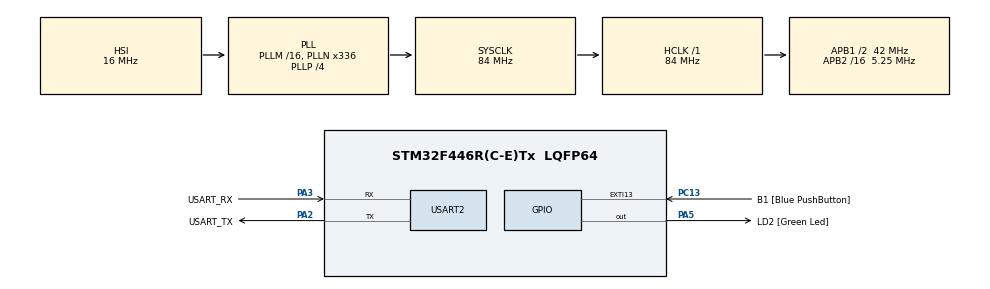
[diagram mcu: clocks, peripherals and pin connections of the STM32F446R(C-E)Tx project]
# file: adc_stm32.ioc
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Mcu.Family=STM32F4
Mcu.Name=STM32F446R(C-E)Tx
Mcu.Package=LQFP64
NVIC.PriorityGroup=NVIC_PRIORITYGROUP_0
PA13.GPIO_Label=TMS
PA13.Mode=Serial_Wire
PA13.Signal=SYS_JTMS-SWDIO
PA14.GPIO_Label=TCK
PA14.Mode=Serial_Wire
PA14.Signal=SYS_JTCK-SWCLK
PA2.GPIO_Label=USART_TX
PA2.Mode=Asynchronous
PA2.Signal=USART2_TX
PA3.GPIO_Label=USART_RX
PA3.Mode=Asynchronous
PA3.Signal=USART2_RX
PA5.GPIO_Label=LD2 [Green Led]
PA5.Signal=GPIO_Output
PB3.GPIO_Label=SWO
PB3.Signal=SYS_JTDO-SWO
PC13.GPIO_Label=B1 [Blue PushButton]
PC13.GPIO_ModeDefaultEXTI=GPIO_MODE_IT_FALLING
PC13.Signal=GPXTI13
PC14-OSC32_IN.Mode=LSE-External-Oscillator
PC14-OSC32_IN.Signal=RCC_OSC32_IN
PC15-OSC32_OUT.Mode=LSE-External-Oscillator
PC15-OSC32_OUT.Signal=RCC_OSC32_OUT
PH0-OSC_IN.Mode=HSE-External-Oscillator
PH0-OSC_IN.Signal=RCC_OSC_IN
PH1-OSC_OUT.Mode=HSE-External-Oscillator
PH1-OSC_OUT.Signal=RCC_OSC_OUT
ProjectManager.HeapSize=0x200
ProjectManager.StackSize=0x400
ProjectManager.TargetToolchain=STM32CubeIDE
RCC.48MHZClocksFreq_Value=84000000
RCC.AHBFreq_Value=84000000
RCC.APB1CLKDivider=RCC_HCLK_DIV2
RCC.APB1Freq_Value=42000000
RCC.APB1TimFreq_Value=84000000
RCC.APB2CLKDivider=RCC_HCLK_DIV16
RCC.APB2Freq_Value=5250000
RCC.APB2TimFreq_Value=10500000
RCC.CortexFreq_Value=84000000
RCC.FLatency-AdvancedSettings=FLASH_LATENCY_2
RCC.HCLKFreq_Value=84000000
RCC.HSE_VALUE=8000000
RCC.HSI_VALUE=16000000
RCC.PLLN=336
RCC.PLLP=RCC_PLLP_DIV4
RCC.SYSCLKFreq_VALUE=84000000
RCC.SYSCLKSource=RCC_SYSCLKSOURCE_PLLCLK
RCC.USBFreq_Value=168000000
RCC.VCOOutputFreq_Value=336000000
USART2.VirtualMode=VM_ASYNC
board=NUCLEO-F446RE

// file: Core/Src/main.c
/* USER CODE BEGIN Header */
/**
  ******************************************************************************
  * @file           : main.c
  * @brief          : Main program body
  ******************************************************************************
  * @attention
  *
  * Copyright (c) 2024 STMicroelectronics.
  * All rights reserved.
  *
  * This software is licensed under terms that can be found in the LICENSE file
  * in the root directory of this software component.
  * If no LICENSE file comes with this software, it is provided AS-IS.
  *
  ******************************************************************************
  */
/* USER CODE END Header */
#include "main.h"

/* USER CODE BEGIN Includes */
#include <math.h>
/* USER CODE END Includes */

UART_HandleTypeDef huart2;

void SystemClock_Config(void);
static void MX_GPIO_Init(void);
static void MX_USART2_UART_Init(void);

/* USER CODE BEGIN 0 */
#define ADC_FS 3.3f

void interpret_adc_value();

volatile uint16_t voltage_p, voltage_r = 0;
float voltage_fp, voltage_fr = 0.0;
uint8_t channel = 0;

void ADC_IRQHandler() {
	if(((ADC1->SR >> ADC_SR_EOC_Pos) & 0x01)) {
		switch (channel) { 								// Select channel
		case 0:
			voltage_p = (uint16_t)ADC1->DR;				// Potenziometer
			break;
		case 1:
			voltage_r = (uint16_t)ADC1->DR;				// Photoresistor
			ADC1->CR2 |= (0x1 << ADC_CR2_SWSTART_Pos); 	// Single conversion, restart at the end of group
			break;
		}
		channel = (channel + 1) % 2; 					// Swap between channels
	}
}

/* USER CODE END 0 */

int main(void)
{

  /* MCU Configuration--------------------------------------------------------*/

  /* Reset of all peripherals, Initializes the Flash interface and the Systick. */
  HAL_Init();

  /* Configure the system clock */
  SystemClock_Config();

  /* Initialize all configured peripherals */
  MX_GPIO_Init();
  MX_USART2_UART_Init();
  /* USER CODE BEGIN 2 */

  /* GPIO Configuration */
  // Provide clock to PORTA (PA_0 and PA_1 are associated to CH0 and CH1)
  RCC->AHB1ENR |= (1 << RCC_AHB1ENR_GPIOAEN_Pos); 	// Clock to GPIOA

  // Set both GPIOs in Analog mode
  GPIOA->MODER |= (3 << GPIO_MODER_MODE0_Pos);		// Set PA0 in Analog mode
  GPIOA->MODER |= (3 << GPIO_MODER_MODE1_Pos);		// Set PA1 in Analog mode

  /* ADC Configuration */
  // Provide clock to ADC1
  RCC->APB2ENR |= (1 << RCC_APB2ENR_ADC1EN_Pos); 	// Clock to ADC1

  ADC->CCR      |= (0x03 << ADC_CCR_ADCPRE_Pos);		// (ADCPRE) Divide clock by 8
  ADC1->CR2 	|= (0x01 << ADC_CR2_ADON_Pos);			// (ADON) Power On ADC1
  ADC1->CR2 	&= ~(0x01 << ADC_CR2_CONT_Pos);			// (CONT) Single Conversion Mode
  ADC1->SQR3 	&= ~(0x1F << 0);						// Clear before Selection of Channel 0
  ADC1->SQR3 	|= (0x00 << 0);							// Selection of Channel 0
  ADC1->SQR3 	&= ~(0x1F << 5);						// Clear before Selection of Channel 1
  ADC1->SQR3 	|= (0x01 << 5);							// Selection of Channel 1
  ADC1->SQR1    |= (0x01 << ADC_SQR1_L_Pos);  			// Specify the number of channels to sample
  ADC1->CR1 	|= (0x1 << ADC_CR1_SCAN_Pos); 			// (SCAN) Enable Scan Mode
  ADC1->CR1 	&= ~(0x1 << ADC_CR1_DISCEN_Pos); 		// (DISCEN) Disable Discontinuous Mode
  ADC1->CR1 	&= ~(0x07 << ADC_CR1_DISCNUM_Pos);		// (DISCNUM) Clear Number of Discontinuous Channels
  ADC1->CR2 	&= ~(0x1 << ADC_CR2_ALIGN_Pos); 		// (ALIGN) Align right
  ADC1->SMPR2 	&= ~(0x0F << ADC_SMPR2_SMP0_Pos);		// Clear cycles for Channel0
  ADC1->SMPR2 	|= (0x07 << ADC_SMPR2_SMP0_Pos);		// Set 480 Cycles per Samples
  ADC1->SMPR2 	&= ~(0x0F << ADC_SMPR2_SMP1_Pos);		// Clear cycles for Channel0
  ADC1->SMPR2 	|= (0x07 << ADC_SMPR2_SMP1_Pos);		// Set 480 Cycles per Samples
  ADC1->CR1 	&= ~(0x03 << ADC_CR1_RES_Pos);			// 12 Bit resolution
  ADC1->CR2 	|= (0x01 << ADC_CR2_EOCS_Pos); 			// (EOCS) Notify when each conversion of a sequence is complete
  ADC1 ->CR1 	|= (0x01 << ADC_CR1_EOCIE_Pos); 		// (EOCIE) Generate an interrupt every time EOC is set

  NVIC_EnableIRQ(ADC_IRQn); 							// Check file stm32f446xx.h for the name definition
  NVIC_SetPriority(ADC_IRQn, 0); 						// Priority
  ADC1->CR2 |= (0x1 << ADC_CR2_SWSTART_Pos);			// Start conversion

  /* USER CODE END 2 */

  /* Infinite loop */
  while (1)
  {

    /* USER CODE BEGIN 3 */
	  interpret_adc_value();							// Convert data every 400 ms
	  HAL_Delay(400);
  }
  /* USER CODE END 3 */
}

void SystemClock_Config(void)
{
  RCC_OscInitTypeDef RCC_OscInitStruct = {0};
  RCC_ClkInitTypeDef RCC_ClkInitStruct = {0};

  /** Configure the main internal regulator output voltage
  */
  __HAL_RCC_PWR_CLK_ENABLE();
  __HAL_PWR_VOLTAGESCALING_CONFIG(PWR_REGULATOR_VOLTAGE_SCALE3);

  /** Initializes the RCC Oscillators according to the specified parameters
  * in the RCC_OscInitTypeDef structure.
  */
  RCC_OscInitStruct.OscillatorType = RCC_OSCILLATORTYPE_HSI;
  RCC_OscInitStruct.HSIState = RCC_HSI_ON;
  RCC_OscInitStruct.HSICalibrationValue = RCC_HSICALIBRATION_DEFAULT;
  RCC_OscInitStruct.PLL.PLLState = RCC_PLL_ON;
  RCC_OscInitStruct.PLL.PLLSource = RCC_PLLSOURCE_HSI;
  RCC_OscInitStruct.PLL.PLLM = 16;
  RCC_OscInitStruct.PLL.PLLN = 336;
  RCC_OscInitStruct.PLL.PLLP = RCC_PLLP_DIV4;
  RCC_OscInitStruct.PLL.PLLQ = 2;
  RCC_OscInitStruct.PLL.PLLR = 2;
  if (HAL_RCC_OscConfig(&RCC_OscInitStruct) != HAL_OK)
  {
    Error_Handler();
  }

  /** Initializes the CPU, AHB and APB buses clocks
  */
  RCC_ClkInitStruct.ClockType = RCC_CLOCKTYPE_HCLK|RCC_CLOCKTYPE_SYSCLK
                              |RCC_CLOCKTYPE_PCLK1|RCC_CLOCKTYPE_PCLK2;
  RCC_ClkInitStruct.SYSCLKSource = RCC_SYSCLKSOURCE_PLLCLK;
  RCC_ClkInitStruct.AHBCLKDivider = RCC_SYSCLK_DIV1;
  RCC_ClkInitStruct.APB1CLKDivider = RCC_HCLK_DIV2;
  RCC_ClkInitStruct.APB2CLKDivider = RCC_HCLK_DIV16;

  if (HAL_RCC_ClockConfig(&RCC_ClkInitStruct, FLASH_LATENCY_2) != HAL_OK)
  {
    Error_Handler();
  }
}

static void MX_USART2_UART_Init(void)
{

  huart2.Instance = USART2;
  huart2.Init.BaudRate = 115200;
  huart2.Init.WordLength = UART_WORDLENGTH_8B;
  huart2.Init.StopBits = UART_STOPBITS_1;
  huart2.Init.Parity = UART_PARITY_NONE;
  huart2.Init.Mode = UART_MODE_TX_RX;
  huart2.Init.HwFlowCtl = UART_HWCONTROL_NONE;
  huart2.Init.OverSampling = UART_OVERSAMPLING_16;
  if (HAL_UART_Init(&huart2) != HAL_OK)
  {
    Error_Handler();
  }

}

static void MX_GPIO_Init(void)
{
  GPIO_InitTypeDef GPIO_InitStruct = {0};

  /* GPIO Ports Clock Enable */
  __HAL_RCC_GPIOC_CLK_ENABLE();
  __HAL_RCC_GPIOH_CLK_ENABLE();
  __HAL_RCC_GPIOA_CLK_ENABLE();
  __HAL_RCC_GPIOB_CLK_ENABLE();

  /*Configure GPIO pin Output Level */
  HAL_GPIO_WritePin(LD2_GPIO_Port, LD2_Pin, GPIO_PIN_RESET);

  /*Configure GPIO pin : B1_Pin */
  GPIO_InitStruct.Pin = B1_Pin;
  GPIO_InitStruct.Mode = GPIO_MODE_IT_FALLING;
  GPIO_InitStruct.Pull = GPIO_NOPULL;
  HAL_GPIO_Init(B1_GPIO_Port, &GPIO_InitStruct);

  /*Configure GPIO pin : LD2_Pin */
  GPIO_InitStruct.Pin = LD2_Pin;
  GPIO_InitStruct.Mode = GPIO_MODE_OUTPUT_PP;
  GPIO_InitStruct.Pull = GPIO_NOPULL;
  GPIO_InitStruct.Speed = GPIO_SPEED_FREQ_LOW;
  HAL_GPIO_Init(LD2_GPIO_Port, &GPIO_InitStruct);

}

/* USER CODE BEGIN 4 */
void interpret_adc_value() {
	voltage_fp = voltage_p*(ADC_FS/pow(2, 12));	// Read voltage from potenziometer
	voltage_fr = voltage_r; 					// Read value from photoresistor
}
/* USER CODE END 4 */

void Error_Handler(void)
{
  __disable_irq();
  while (1)
  {
  }
}
